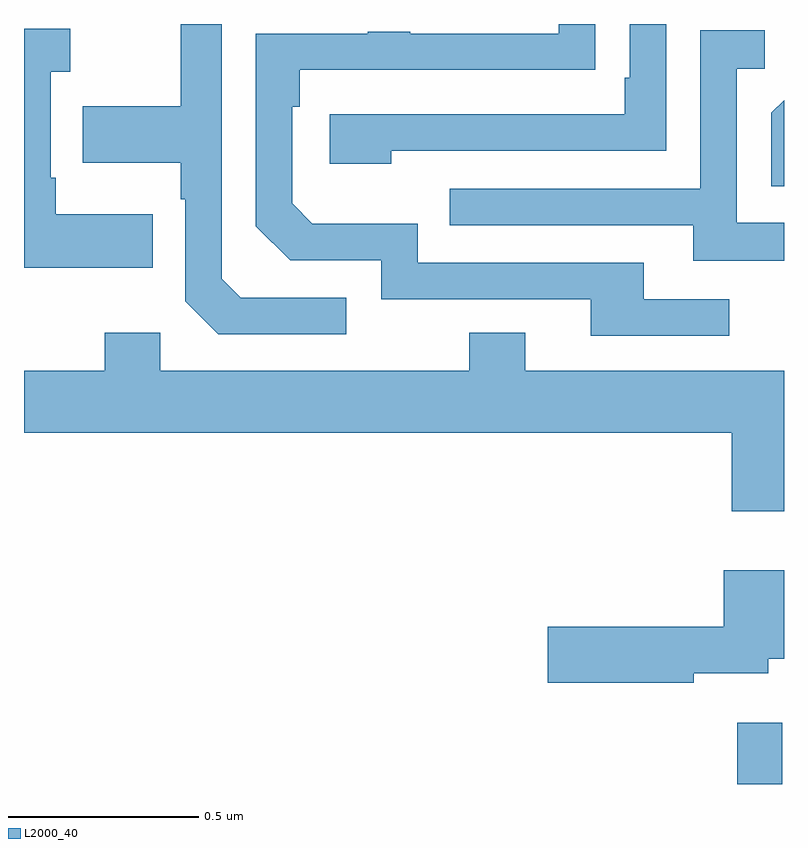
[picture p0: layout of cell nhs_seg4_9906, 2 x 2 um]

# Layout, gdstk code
import gdstk
lib = gdstk.Library(unit=1e-6, precision=1e-09)
def R(c, l, rs):  # rectangles x0, y0, x1, y1
    for r in rs: c.add(gdstk.rectangle(r[:2], r[2:], *l))
def P(c, l, *ps):  # polygons
    for p in ps: c.add(gdstk.Polygon(p, *l))
L2000_40 = (2000, 40)

nhs_seg4_9906 = lib.new_cell('nhs_seg4_9906')
R(nhs_seg4_9906, L2000_40, [(234.877,791.9,234.996,792.061)])
P(nhs_seg4_9906, L2000_40, [(233.848,793.179),(233.571,793.179),(233.52,793.23),(233.52,793.9),(233.412,793.9),(233.412,793.683),(233.155,793.683),(233.155,793.535),(233.412,793.535),(233.412,793.439),(233.424,793.439),(233.424,793.17),(233.511,793.083),(233.848,793.083)],
  [(234.856,793.176),(234.631,793.176),(234.631,793.272),(234.036,793.272),(234.036,793.375),(233.759,793.375),(233.706,793.428),(233.706,793.682),(233.726,793.682),(233.726,793.779),(234.401,793.779),(234.401,793.78),(234.503,793.78),(234.503,793.9),(234.407,793.9),(234.407,793.875),(234.017,793.875),(234.017,793.88),(233.905,793.88),(233.905,793.875),(233.61,793.875),(233.61,793.368),(233.7,793.278),(233.94,793.278),(233.94,793.176),(234.491,793.176),(234.491,793.08),(234.856,793.08)],
  [(233.966,793.566),(234.69,793.566),(234.69,793.9),(234.594,793.9),(234.594,793.759),(234.581,793.759),(234.581,793.662),(233.805,793.662),(233.805,793.532),(233.966,793.532)],
  [(233.339,793.399),(233.083,793.399),(233.083,793.495),(233.07,793.495),(233.07,793.775),(233.122,793.775),(233.122,793.888),(233,793.888),(233,793.259),(233.339,793.259)],
  [(235,793.377),(234.876,793.377),(234.876,793.782),(234.949,793.782),(234.949,793.883),(234.78,793.883),(234.78,793.467),(234.121,793.467),(234.121,793.371),(234.761,793.371),(234.761,793.277),(235,793.277)],
  [(235,793.7),(234.966,793.666),(234.966,793.473),(235,793.473)],
  [(233.212,793.087),(233.212,792.988),(233,792.988),(233,792.824),(234.863,792.824),(234.863,792.618),(235,792.618),(235,792.988),(234.319,792.988),(234.319,793.087),(234.172,793.087),(234.172,792.988),(233.358,792.988),(233.358,793.087)],
  [(234.762,792.191),(234.958,792.191),(234.958,792.23),(235,792.23),(235,792.463),(234.842,792.463),(234.842,792.314),(234.378,792.314),(234.378,792.167),(234.762,792.167)])

lib.write_gds('nhs_seg4_9906.gds')
